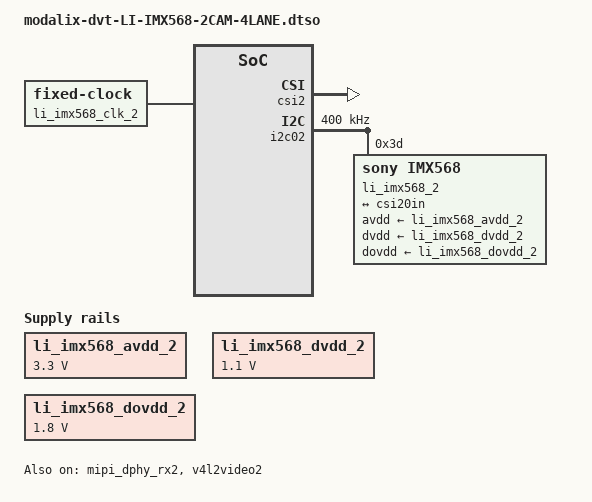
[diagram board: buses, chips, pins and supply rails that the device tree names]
// SPDX-License-Identifier: (GPL-2.0+ OR MIT)
/*
 * Copyright (c) 2026 SiMa ai
 *
 * li-imx568 (direct Sony imx568, sony,imx568) on modalix DVT csi2,
 * four-lane CSI-2 controller mode, i2c addr 0x3d, RAW12.
 */

/dts-v1/;
/plugin/;

&{/} {
	li_imx568_avdd_2: csi2-fixedregulator-0 {
		compatible = "regulator-fixed";
		regulator-name = "li_imx568_avdd_2";
		regulator-min-microvolt = <3300000>;
		regulator-max-microvolt = <3300000>;
		enable-active-high;
		startup-delay-us = <300000>;
		regulator-always-on;
	};
	li_imx568_dvdd_2: csi2-fixedregulator-1 {
		compatible = "regulator-fixed";
		regulator-name = "li_imx568_dvdd_2";
		regulator-min-microvolt = <1100000>;
		regulator-max-microvolt = <1100000>;
		regulator-always-on;
	};
	li_imx568_dovdd_2: csi2-fixedregulator-2 {
		compatible = "regulator-fixed";
		regulator-name = "li_imx568_dovdd_2";
		regulator-min-microvolt = <1800000>;
		regulator-max-microvolt = <1800000>;
		regulator-always-on;
	};
	li_imx568_clk_2: csi2-camera-clk {
		compatible = "fixed-clock";
		#clock-cells = <0>;
		clock-frequency = <37125000>;
	};
};

/* bt-* fallback for 1920x1080 RAW12 only; live timing comes from the sensor controls.
 * The sensor drives a continuous clock, so clock-noncontinuous is omitted. */
&csi2 {
	status = "okay";
	simaai,bt-pixelclock = /bits/ 64 <500000000>;
	simaai,bt-hsync = <2>;
	simaai,bt-hbackporch = <100>;
	simaai,bt-hfrontporch = <856>;
	simaai,bt-vsync = <1>;
	simaai,bt-vbackporch = <68>;
	simaai,bt-vfrontporch = <1>;
	simaai,ipi-controller-mode = <1>;
	simaai,ipi-controller-enable-delay-ms = <800>;
	simaai,ipi-emb-data-enable = <0>;
};

&axi_vdma2 {
	status = "okay";
};

&mipi_dphy_rx2 {
	status = "okay";
};

&v4l2video2 {
	status = "okay";
};

&v4l2vdma2 {
	status = "okay";
};

&csi20in {
	clock-lanes = <0>;
	data-lanes = <1 2 3 4>;
	link-frequencies = /bits/ 64 <594000000>;
	remote-endpoint = <&cam20out>;
};

&i2c02 {
	status = "okay";
	clock-frequency = <400000>;
	#address-cells = <1>;
	#size-cells = <0>;

	li_imx568_2: camera@3d {
		compatible = "sony,imx568";
		reg = <0x3d>;

		clocks = <&li_imx568_clk_2>;
		clock-names = "inck";

		avdd-supply = <&li_imx568_avdd_2>;
		dvdd-supply = <&li_imx568_dvdd_2>;
		dovdd-supply = <&li_imx568_dovdd_2>;

		port {
			cam20out: endpoint {
				clock-lanes = <0>;
				data-lanes = <1 2 3 4>;
				link-frequencies = /bits/ 64 <594000000>;
				remote-endpoint = <&csi20in>;
			};
		};
	};
};
